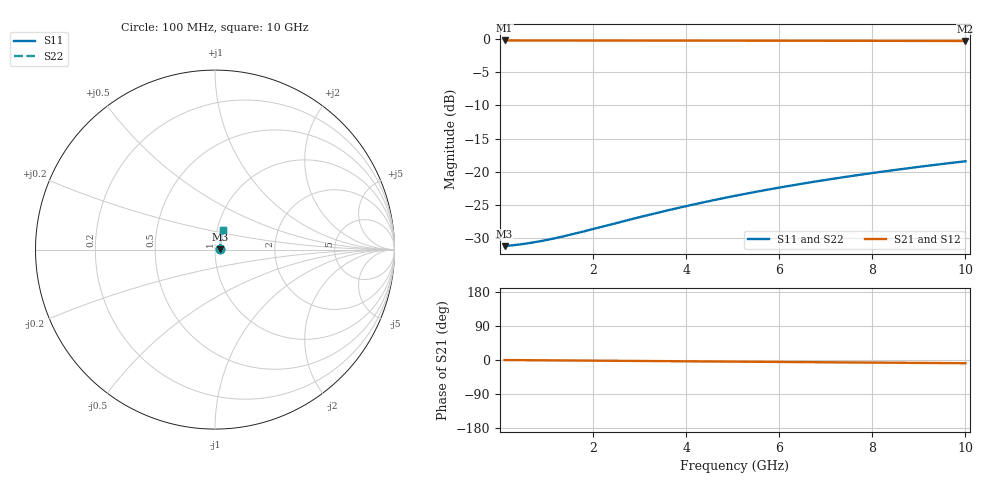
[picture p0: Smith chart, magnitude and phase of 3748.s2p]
# Hz S RI R 50.00
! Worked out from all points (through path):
!   100 points, 100 MHz to 10 GHz, reference 50 ohm
!   highest |S21| = -0.24 dB at 100 MHz (marker M1); lowest = -0.3 dB at 10 GHz (marker M2)
!   group delay of S21, straight-line fit = 2.37 ps
!   lowest |S11| = -31.2 dB at 100 MHz (marker M3), VSWR 1.06, Z = 52.8 + j0.12 ohm
!   |S11| at or under -10 dB: start of sweep to end of sweep
!   |S22| runs from -31.2 to -18.4 dB; largest |S21 - S12| = 0
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1e8  0.0275 0.00113  0.9725 -0.00145  0.9725 -0.00145  0.0275 0.00113
5e8  0.028 0.00565  0.972 -0.00727  0.972 -0.00727  0.028 0.00565
7e8  0.0282 0.00791  0.9718 -0.0102  0.9718 -0.0102  0.0282 0.00791
9e8  0.0284 0.0102  0.9716 -0.0131  0.9716 -0.0131  0.0284 0.0102
1.1e9  0.0286 0.0124  0.9714 -0.016  0.9714 -0.016  0.0286 0.0124
1.3e9  0.0287 0.0147  0.9713 -0.0189  0.9713 -0.0189  0.0287 0.0147
1.5e9  0.0289 0.0169  0.9711 -0.0218  0.9711 -0.0218  0.0289 0.0169
1.8e9  0.0292 0.0203  0.9708 -0.0261  0.9708 -0.0261  0.0292 0.0203
2.8e9  0.0302 0.0315  0.9697 -0.0406  0.9697 -0.0406  0.0302 0.0315
3.4e9  0.031 0.0383  0.969 -0.0492  0.969 -0.0492  0.031 0.0383
3.8e9  0.0315 0.0427  0.9684 -0.055  0.9684 -0.055  0.0315 0.0427
4.2e9  0.0321 0.0472  0.9678 -0.0608  0.9678 -0.0608  0.0321 0.0472
4.6e9  0.0328 0.0516  0.9671 -0.0665  0.9671 -0.0665  0.0328 0.0516
5.1e9  0.0336 0.0572  0.9662 -0.0737  0.9662 -0.0737  0.0336 0.0572
5.5e9  0.0344 0.0616  0.9654 -0.0794  0.9654 -0.0794  0.0344 0.0616
5.9e9  0.0352 0.066  0.9646 -0.0851  0.9646 -0.0851  0.0352 0.066
6.3e9  0.0361 0.0705  0.9637 -0.0908  0.9637 -0.0908  0.0361 0.0705
6.7e9  0.037 0.0748  0.9627 -0.0965  0.9627 -0.0965  0.037 0.0748
7.5e9  0.039 0.0836  0.9607 -0.1078  0.9607 -0.1078  0.039 0.0836
8.4e9  0.0414 0.0933  0.9582 -0.1205  0.9582 -0.1205  0.0414 0.0933
9.2e9  0.0438 0.1019  0.9557 -0.1317  0.9557 -0.1317  0.0438 0.1019
1e10  0.0464 0.1105  0.953 -0.1428  0.953 -0.1428  0.0464 0.1105
